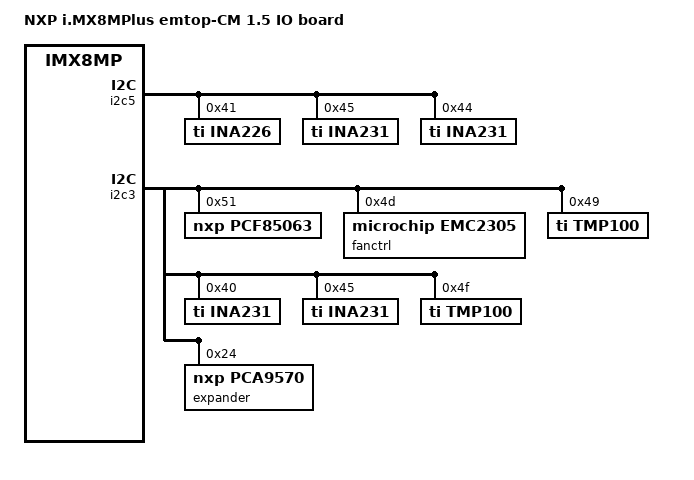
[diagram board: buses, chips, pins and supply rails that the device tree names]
#include "emtop-imx8mp-baseboard-hdmi.dts"

&pinctrl_hog {
	fsl,pins = <
		MX8MP_IOMUXC_ECSPI2_SCLK__GPIO5_IO10		0x19
		MX8MP_IOMUXC_ECSPI2_MOSI__GPIO5_IO11		0x19
		MX8MP_IOMUXC_ECSPI2_MISO__GPIO5_IO12		0x19
		MX8MP_IOMUXC_ECSPI2_SS0__GPIO5_IO13		0x19
	>;
};

/ {
	model = "NXP i.MX8MPlus emtop-CM 1.5 IO board";
	compatible = "fsl,imx8mp-evk", "fsl,imx8mp";

	aliases {
		rtc0 = &snvs_rtc;
		rtc1 = &pcf85063;
	};

	gpio-leds {
		act_led: sys {
			label = "led0";
			linux,default-trigger = "mmc0";
			gpios = <&gpio3 16 GPIO_ACTIVE_HIGH>;
		};

                /* pwr_led pin (95) is "reserved" in Emtop SOM-IMX8 */

		sta_led: sta {
			label = "led1";
			linux,default-trigger = "gpio";
			gpios = <&gpio1 6 GPIO_ACTIVE_HIGH>;
		};

		ap_led: ap {
			label = "led2";
			linux,default-trigger = "gpio";
			gpios = <&gpio4 31 GPIO_ACTIVE_HIGH>;
		};
	};
};

&gpio1 { /* gpiochip0 */
	gpio-line-names =
		/* 0*/ "unnamed",
		/* 1*/ "unnamed",
		/* 2*/ "unnamed",
		/* 3*/ "unnamed",
		/* 4*/ "unnamed",
		/* 5*/ "unnamed",
		/* 6*/ "unnamed",
		/* 7*/ "mpcie3_gpio",
		/* 8*/ "unnamed",
		/* 9*/ "unnamed",
		/*10*/ "unnamed",
		/*11*/ "unnamed",
		/*12*/ "unnamed",
		/*13*/ "unnamed",
		/*14*/ "unnamed",
		/*15*/ "unnamed",
		/*16*/ "unnamed",
		/*17*/ "unnamed",
		/*18*/ "unnamed",
		/*19*/ "unnamed",
		/*20*/ "unnamed",
		/*21*/ "unnamed",
		/*22*/ "unnamed",
		/*23*/ "unnamed",
		/*24*/ "unnamed",
		/*25*/ "unnamed",
		/*26*/ "unnamed",
		/*27*/ "unnamed",
		/*28*/ "unnamed",
		/*29*/ "unnamed",
		/*30*/ "unnamed",
		/*31*/ "unnamed";
};

&gpio2 { /* gpiochip1 */
	gpio-line-names =
		/* 0*/ "unnamed",
		/* 1*/ "unnamed",
		/* 2*/ "unnamed",
		/* 3*/ "unnamed",
		/* 4*/ "unnamed",
		/* 5*/ "unnamed",
		/* 6*/ "unnamed",
		/* 7*/ "unnamed",
		/* 8*/ "unnamed",
		/* 9*/ "unnamed",
		/*10*/ "unnamed",
		/*11*/ "unnamed",
		/*12*/ "unnamed",
		/*13*/ "unnamed",
		/*14*/ "unnamed",
		/*15*/ "unnamed",
		/*16*/ "unnamed",
		/*17*/ "unnamed",
		/*18*/ "unnamed",
		/*19*/ "unnamed",
		/*20*/ "nrf52_coex2",
		/*21*/ "unnamed",
		/*22*/ "unnamed",
		/*23*/ "unnamed",
		/*24*/ "unnamed",
		/*25*/ "unnamed",
		/*26*/ "unnamed",
		/*27*/ "unnamed",
		/*28*/ "unnamed",
		/*29*/ "unnamed",
		/*30*/ "unnamed",
		/*31*/ "unnamed";
};

&gpio3 { /* gpiochip2 */
	gpio-line-names =
		/* 0*/ "unnamed",
		/* 1*/ "unnamed",
		/* 2*/ "unnamed",
		/* 3*/ "unnamed",
		/* 4*/ "unnamed",
		/* 5*/ "unnamed",
		/* 6*/ "unnamed",
		/* 7*/ "unnamed",
		/* 8*/ "unnamed",
		/* 9*/ "unnamed",
		/*10*/ "unnamed",
		/*11*/ "unnamed",
		/*12*/ "unnamed",
		/*13*/ "unnamed",
		/*14*/ "unnamed",
		/*15*/ "unnamed",
		/*16*/ "unnamed",
		/*17*/ "unnamed",
		/*18*/ "unnamed",
		/*19*/ "unnamed",
		/*20*/ "unnamed",
		/*21*/ "unnamed",
		/*22*/ "unnamed",
		/*23*/ "unnamed",
		/*24*/ "unnamed",
		/*25*/ "unnamed",
		/*26*/ "unnamed",
		/*27*/ "unnamed",
		/*28*/ "unnamed",
		/*29*/ "unnamed",
		/*30*/ "unnamed",
		/*31*/ "unnamed";
};

&gpio4 { /* gpiochip3 */
	gpio-line-names =
		/* 0*/ "unnamed",
		/* 1*/ "unnamed",
		/* 2*/ "unnamed",
		/* 3*/ "unnamed",
		/* 4*/ "unnamed",
		/* 5*/ "mpcie5_coex2",
		/* 6*/ "unnamed",
		/* 7*/ "unnamed",
		/* 8*/ "unnamed",
		/* 9*/ "unnamed",
		/*10*/ "unnamed",
		/*11*/ "unnamed",
		/*12*/ "unnamed",
		/*13*/ "unnamed",
		/*14*/ "unnamed",
		/*15*/ "unnamed",
		/*16*/ "unnamed",
		/*17*/ "unnamed",
		/*18*/ "unnamed",
		/*19*/ "unnamed",
		/*20*/ "unnamed",
		/*21*/ "unnamed",
		/*22*/ "mux_2",
		/*23*/ "unnamed",
		/*24*/ "unnamed",
		/*25*/ "unnamed",
		/*26*/ "unnamed",
		/*27*/ "mpcie3_coex1",
		/*28*/ "nrf52_coex1",
		/*29*/ "mux_3",
		/*30*/ "nrf53_coex1",
		/*31*/ "aux_ioexp_int";
};

&gpio5 { /* gpiochip4 */
	gpio-line-names =
		/* 0*/ "mpcie3_spi_rst",
		/* 1*/ "nrf53_coex2",
		/* 2*/ "mpcie5_coex1",
		/* 3*/ "unnamed",
		/* 4*/ "unnamed",
		/* 5*/ "unnamed",
		/* 6*/ "unnamed",
		/* 7*/ "unnamed",
		/* 8*/ "unnamed",
		/* 9*/ "unnamed",
		/*10*/ "unnamed",
		/*11*/ "unnamed",
		/*12*/ "unnamed",
		/*13*/ "unnamed",
		/*14*/ "unnamed",
		/*15*/ "unnamed",
		/*16*/ "aux_spi_gpio",
		/*17*/ "aux_spi_rst",
		/*18*/ "unnamed",
		/*19*/ "unnamed",
		/*20*/ "unnamed",
		/*21*/ "unnamed",
		/*22*/ "unnamed",
		/*23*/ "unnamed",
		/*24*/ "unnamed",
		/*25*/ "unnamed",
		/*26*/ "unnamed",
		/*27*/ "unnamed",
		/*28*/ "dcube_rpi_io1",
		/*29*/ "mux_1",
		/*30*/ "unnamed",
		/*31*/ "unnamed";
};

/* ### CM4IO Based Comms Devices ### */
&i2c5 {
	/* CM1.5 */
	ina226@41 {
		compatible = "ti,ina226";
		reg = <0x41>;
		shunt-resistor = <5000>;
	};

	/* INA_VCC_FEM */
	ina231@45 {
		compatible = "ti,ina231";
		reg = <0x45>;
		shunt-resistor = <33000>;
	};

	/* INA_VCC_3V3 */
	ina231@44 {
		compatible = "ti,ina231";
		reg = <0x44>;
		shunt-resistor = <100000>;
	};
};

&i2c3 {
	pinctrl-names = "default";
	pinctrl-0 = <&pinctrl_i2c3>;
	status = "okay";

	pcf85063: pcf85063@51 {
		compatible = "nxp,pcf85063";
		reg = <0x51>;
	};

	fanctrl: emc2305@4d {
		compatible = "microchip,emc2305";
		reg = <0x4d>;

		#cooling-cells = <0x02>;

		fan@0 {
			min-rpm = /bits/ 16 <50>;
			max-rpm = /bits/ 16 <5500>;
		};
	};

	tmp100@49 {
		compatible = "ti,tmp100";
		reg = <0x49>;
	};

	/* ina231 is also used for ina209 */
	ina231@40 {
		compatible = "ti,ina231";
		reg = <0x40>;
		shunt-resistor = <33000>;
	};

	/* ina231 is also used for ina209 */
	ina231@45 {
		compatible = "ti,ina231";
		reg = <0x45>;
		shunt-resistor = <33000>;
	};

	/* available in Sleeve wing board */
	tmp100@4f {
		compatible = "ti,tmp100";
		reg = <0x4f>;
	};

	/* CM1.5 */
	expander: gpio@24 {
		compatible = "nxp,pca9570";
		reg = <0x24>;
		gpio-controller;
		#gpio-cells = <2>;
		gpio-line-names = "poweroff",
				"j701",
				"j702",
				"nrf52_rst";
	};
};

/*
 * pins of spi2 test as gpio */
&ecspi2 {
	status = "disabled";
};

&hdmi {
	status = "disabled";
};

&mipi_dsi {
	status = "disabled";
};

&panel_mipi_70t {
	status = "disabled";
};

&goodix {
	status = "disabled";
};

